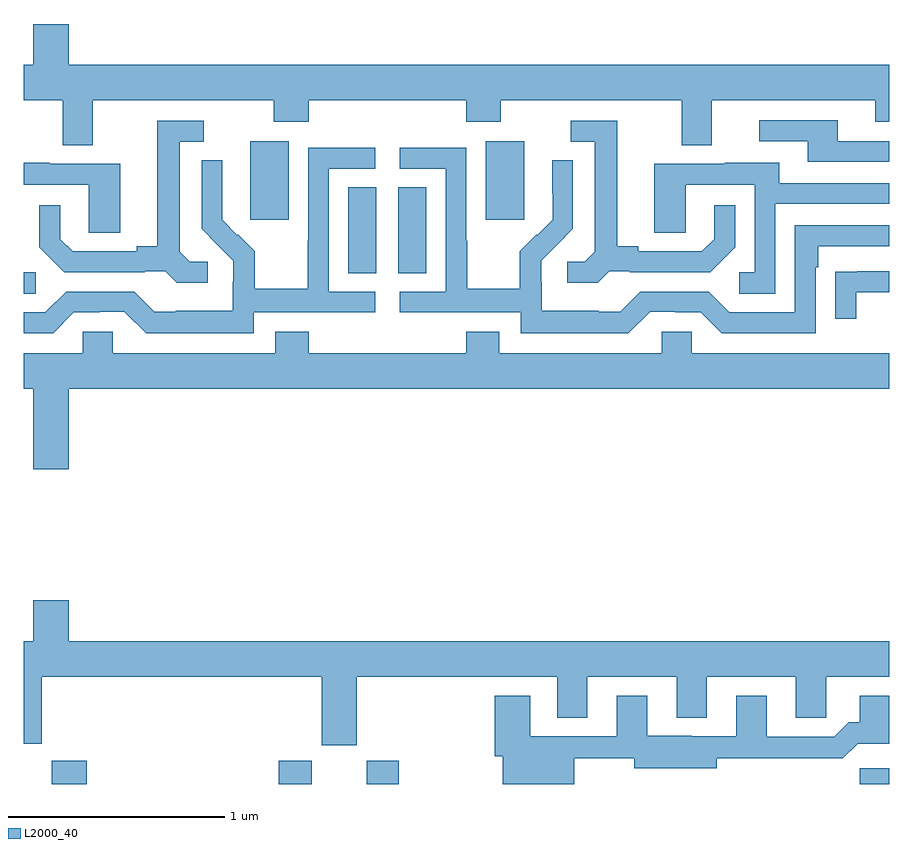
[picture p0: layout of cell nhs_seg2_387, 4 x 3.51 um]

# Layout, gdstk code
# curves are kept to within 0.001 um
import gdstk
lib = gdstk.Library(unit=1e-6, precision=1e-09)
def R(c, l, rs):  # rectangles x0, y0, x1, y1
    for r in rs: c.add(gdstk.rectangle(r[:2], r[2:], *l))
def P(c, l, *ps):  # polygons
    for p in ps: c.add(gdstk.Polygon(p, *l))
L2000_40 = (2000, 40)

nhs_seg2_387 = lib.new_cell('nhs_seg2_387')
R(nhs_seg2_387, L2000_40, [(129.13,653.8,129.29,653.908), (130.178,653.8,130.33,653.907), (130.586,653.8,130.733,653.907), (132.864,653.8,133,653.873), (129,656.065,129.055,656.166), (130.499,656.161,130.63,656.558), (130.73,656.161,130.861,656.558), (130.046,656.409,130.225,656.77), (131.135,656.409,131.314,656.77)])
P(nhs_seg2_387, L2000_40, [(129.319,656.96),(130.156,656.96),(130.156,656.861),(130.316,656.861),(130.316,656.96),(131.045,656.96),(131.045,656.861),(131.205,656.861),(131.205,656.96),(132.041,656.96),(132.041,656.752),(132.181,656.752),(132.181,656.96),(132.935,656.96),(132.935,656.861),(133,656.861),(133,657.124),(129.208,657.124),(129.208,657.313),(129.044,657.313),(129.044,657.124),(129,657.124),(129,656.96),(129.179,656.96),(129.179,656.752),(129.319,656.752)],
  [(133,656.772),(132.763,656.772),(132.763,656.868),(132.399,656.868),(132.399,656.772),(132.623,656.772),(132.623,656.676),(133,656.676)],
  [(131.706,656.169),(131.8,656.169),(131.8,656.166),(132.172,656.166),(132.288,656.282),(132.288,656.476),(132.191,656.476),(132.191,656.319),(132.134,656.262),(131.839,656.262),(131.839,656.285),(131.743,656.285),(131.743,656.865),(131.529,656.865),(131.529,656.769),(131.639,656.769),(131.639,656.261),(131.592,656.214),(131.511,656.214),(131.511,656.117),(131.654,656.117)],
  [(129.85,656.214),(129.768,656.214),(129.721,656.261),(129.721,656.769),(129.832,656.769),(129.832,656.865),(129.617,656.865),(129.617,656.285),(129.521,656.285),(129.521,656.262),(129.226,656.262),(129.169,656.319),(129.169,656.476),(129.072,656.476),(129.072,656.282),(129.188,656.166),(129.56,656.166),(129.56,656.169),(129.654,656.169),(129.706,656.117),(129.85,656.117)],
  [(130.062,655.98),(130.624,655.98),(130.624,656.076),(130.41,656.076),(130.41,656.643),(130.624,656.643),(130.624,656.742),(130.314,656.742),(130.314,656.312),(130.312,656.312),(130.312,656.089),(130.067,656.089),(130.067,656.263),(129.99,656.34),(129.987,656.337),(129.917,656.408),(129.918,656.684),(129.822,656.684),(129.822,656.366),(129.968,656.218),(129.968,656.121),(129.966,656.121),(129.966,655.987),(129.703,655.987),(129.703,655.983),(129.603,655.983),(129.51,656.076),(129.195,656.076),(129.099,655.98),(129,655.98),(129,655.884),(129.135,655.884),(129.231,655.98),(129.35,655.98),(129.35,655.983),(129.465,655.983),(129.565,655.883),(130.062,655.883)],
  [(131.895,655.983),(132.011,655.983),(132.011,655.98),(132.129,655.98),(132.225,655.884),(132.66,655.884),(132.66,656.189),(132.673,656.189),(132.673,656.286),(133,656.286),(133,656.382),(132.564,656.382),(132.564,655.98),(132.261,655.98),(132.165,656.076),(131.85,656.076),(131.757,655.983),(131.657,655.983),(131.657,655.987),(131.394,655.987),(131.394,656.121),(131.392,656.121),(131.392,656.218),(131.538,656.366),(131.538,656.684),(131.442,656.684),(131.442,656.53),(131.444,656.53),(131.444,656.408),(131.373,656.337),(131.37,656.34),(131.293,656.263),(131.293,656.089),(131.049,656.089),(131.049,656.312),(131.046,656.312),(131.046,656.742),(130.737,656.742),(130.737,656.643),(130.95,656.643),(130.95,656.076),(130.737,656.076),(130.737,655.98),(131.298,655.98),(131.298,655.883),(131.795,655.883)],
  [(129.445,656.667),(129.121,656.667),(129.121,656.671),(129,656.671),(129,656.571),(129.3,656.571),(129.3,656.347),(129.445,656.347)],
  [(132.474,656.481),(133,656.481),(133,656.577),(132.493,656.577),(132.493,656.671),(132.239,656.671),(132.239,656.667),(131.915,656.667),(131.915,656.347),(132.06,656.347),(132.06,656.571),(132.378,656.571),(132.378,656.166),(132.306,656.166),(132.306,656.065),(132.474,656.065)],
  [(132.847,656.073),(133,656.073),(133,656.169),(132.853,656.169),(132.853,656.168),(132.751,656.168),(132.751,655.95),(132.847,655.95)],
  [(129.208,655.628),(133,655.628),(133,655.792),(132.087,655.792),(132.087,655.89),(131.949,655.89),(131.949,655.792),(131.197,655.792),(131.197,655.891),(131.045,655.891),(131.045,655.792),(130.316,655.792),(130.316,655.891),(130.163,655.891),(130.163,655.792),(129.411,655.792),(129.411,655.89),(129.273,655.89),(129.273,655.792),(129,655.792),(129,655.628),(129.044,655.628),(129.044,655.254),(129.208,655.254)],
  [(130.54,654.296),(131.465,654.296),(131.465,654.106),(131.605,654.106),(131.605,654.296),(132.017,654.296),(132.017,654.107),(132.157,654.107),(132.157,654.296),(132.569,654.296),(132.569,654.106),(132.708,654.106),(132.708,654.296),(133,654.296),(133,654.46),(129.208,654.46),(129.208,654.649),(129.044,654.649),(129.044,654.46),(129,654.46),(129,653.987),(129.082,653.987),(129.082,654.296),(130.376,654.296),(130.376,653.979),(130.54,653.979)],
  [(131.545,653.92),(131.822,653.92),(131.822,653.873),(132.202,653.873),(132.202,653.92),(132.529,653.92),(132.529,653.918),(132.785,653.918),(132.854,653.987),(133,653.987),(133,654.208),(132.863,654.208),(132.863,654.085),(132.814,654.085),(132.747,654.018),(132.433,654.018),(132.433,654.208),(132.293,654.208),(132.293,654.021),(131.881,654.022),(131.881,654.208),(131.741,654.208),(131.741,654.021),(131.341,654.021),(131.341,654.208),(131.177,654.208),(131.177,653.928),(131.213,653.928),(131.213,653.8),(131.545,653.8)])

lib.write_gds('nhs_seg2_387.gds')
